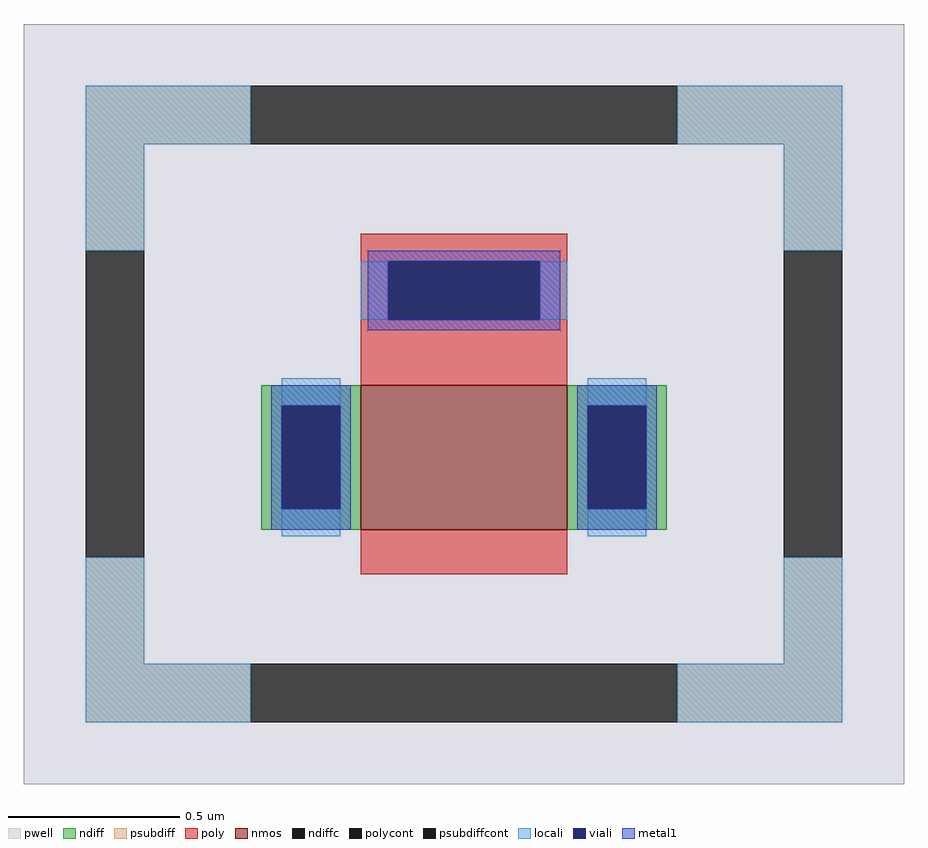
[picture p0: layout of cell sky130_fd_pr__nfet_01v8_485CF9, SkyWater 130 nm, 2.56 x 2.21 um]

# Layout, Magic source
magic
tech sky130A
magscale 1 2
<< pwell >>
rect -256 -221 256 221
<< nmos >>
rect -60 -73 60 11
<< ndiff >>
rect -118 -1 -60 11
rect -118 -61 -106 -1
rect -72 -61 -60 -1
rect -118 -73 -60 -61
rect 60 -1 118 11
rect 60 -61 72 -1
rect 106 -61 118 -1
rect 60 -73 118 -61
<< ndiffc >>
rect -106 -61 -72 -1
rect 72 -61 106 -1
<< psubdiff >>
rect -220 151 -124 185
rect 124 151 220 185
rect -220 89 -186 151
rect 186 89 220 151
rect -220 -151 -186 -89
rect 186 -151 220 -89
rect -220 -185 -124 -151
rect 124 -185 220 -151
<< psubdiffcont >>
rect -124 151 124 185
rect -220 -89 -186 89
rect 186 -89 220 89
rect -124 -185 124 -151
<< poly >>
rect -60 83 60 99
rect -60 49 -44 83
rect 44 49 60 83
rect -60 11 60 49
rect -60 -99 60 -73
<< polycont >>
rect -44 49 44 83
<< locali >>
rect -220 151 -124 185
rect 124 151 220 185
rect -220 89 -186 151
rect 186 89 220 151
rect -60 49 -44 83
rect 44 49 60 83
rect -106 -1 -72 15
rect -106 -77 -72 -61
rect 72 -1 106 15
rect 72 -77 106 -61
rect -220 -151 -186 -89
rect 186 -151 220 -89
rect -220 -185 -124 -151
rect 124 -185 220 -151
<< viali >>
rect -44 49 44 83
rect -106 -61 -72 -1
rect 72 -61 106 -1
<< metal1 >>
rect -56 83 56 89
rect -56 49 -44 83
rect 44 49 56 83
rect -56 43 56 49
rect -112 -1 -66 11
rect -112 -61 -106 -1
rect -72 -61 -66 -1
rect -112 -73 -66 -61
rect 66 -1 112 11
rect 66 -61 72 -1
rect 106 -61 112 -1
rect 66 -73 112 -61
<< properties >>
string FIXED_BBOX -203 -168 203 168
string gencell sky130_fd_pr__nfet_01v8
string library sky130
string parameters w 0.42 l 0.6 m 1 nf 1 diffcov 100 polycov 100 guard 1 glc 1 grc 1 gtc 1 gbc 1 tbcov 100 rlcov 100 topc 1 botc 0 poverlap 0 doverlap 1 lmin 0.15 wmin 0.42 compatible {sky130_fd_pr__nfet_01v8 sky130_fd_pr__nfet_01v8_lvt  sky130_fd_bs_flash__special_sonosfet_star  sky130_fd_pr__nfet_g5v0d10v5 sky130_fd_pr__nfet_05v0_nvt  sky130_fd_pr__nfet_03v3_nvt} full_metal 1 viasrc 100 viadrn 100 viagate 100 viagb 0 viagr 0 viagl 0 viagt 0
<< end >>
